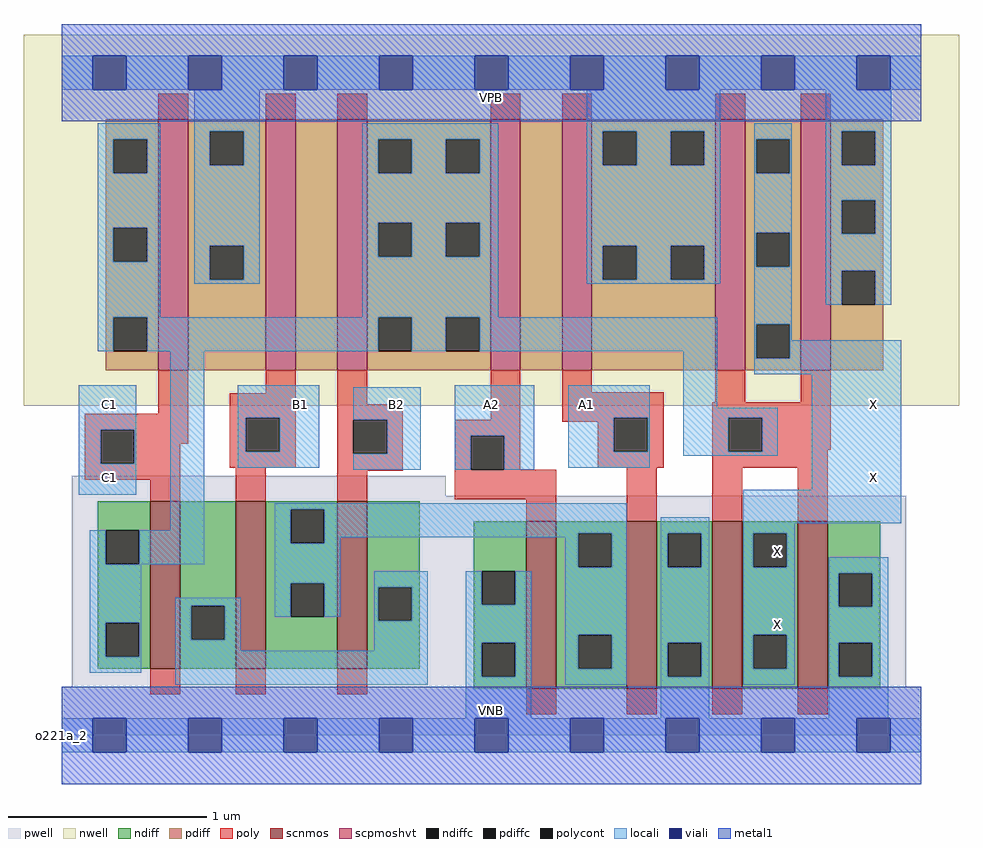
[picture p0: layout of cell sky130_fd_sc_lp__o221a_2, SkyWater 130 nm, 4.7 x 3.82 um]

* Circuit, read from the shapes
.subckt sky130_fd_sc_lp__o221a_2 A1 A2 B1 B2 C1 VGND VNB VPB VPWR X
XM1 n1 C1 n2 VNB sky130_fd_pr__nfet_01v8 w=0.84 l=0.15
XM2 n3 B1 n1 VNB sky130_fd_pr__nfet_01v8 w=0.84 l=0.15
XM3 n1 B2 n3 VNB sky130_fd_pr__nfet_01v8 w=0.84 l=0.15
XM4 n3 A2 VGND VNB sky130_fd_pr__nfet_01v8 w=0.84 l=0.15
XM5 VGND A1 n3 VNB sky130_fd_pr__nfet_01v8 w=0.84 l=0.15
XM6 X n2 VGND VNB sky130_fd_pr__nfet_01v8 w=0.84 l=0.15 m=2
XM7 VPWR C1 n2 VPB sky130_fd_pr__pfet_01v8_hvt w=1.26 l=0.15
XM8 n4 B1 VPWR VPB sky130_fd_pr__pfet_01v8_hvt w=1.26 l=0.15
XM9 n2 B2 n4 VPB sky130_fd_pr__pfet_01v8_hvt w=1.26 l=0.15
XM10 n5 A2 n2 VPB sky130_fd_pr__pfet_01v8_hvt w=1.26 l=0.15
XM11 VPWR A1 n5 VPB sky130_fd_pr__pfet_01v8_hvt w=1.26 l=0.15
XM12 X n2 VPWR VPB sky130_fd_pr__pfet_01v8_hvt w=1.26 l=0.15 m=2
.ends

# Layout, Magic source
magic
tech sky130A
magscale 1 2
<< nwell >>
rect -38 331 902 704
<< pwell >>
rect 10 241 386 261
rect 10 49 849 241
rect 0 0 864 49
<< scnmos >>
rect 89 67 119 235
rect 175 67 205 235
rect 277 67 307 235
rect 467 47 497 215
rect 568 47 598 215
rect 654 47 684 215
rect 740 47 770 215
<< scpmoshvt >>
rect 97 367 127 619
rect 205 367 235 619
rect 277 367 307 619
rect 431 367 461 619
rect 503 367 533 619
rect 657 367 687 619
rect 743 367 773 619
<< ndiff >>
rect 36 206 89 235
rect 36 172 44 206
rect 78 172 89 206
rect 36 113 89 172
rect 36 79 44 113
rect 78 79 89 113
rect 36 67 89 79
rect 119 130 175 235
rect 119 96 130 130
rect 164 96 175 130
rect 119 67 175 96
rect 205 227 277 235
rect 205 193 230 227
rect 264 193 277 227
rect 205 153 277 193
rect 205 119 230 153
rect 264 119 277 153
rect 205 67 277 119
rect 307 149 360 235
rect 307 115 318 149
rect 352 115 360 149
rect 307 67 360 115
rect 414 165 467 215
rect 414 131 422 165
rect 456 131 467 165
rect 414 93 467 131
rect 414 59 422 93
rect 456 59 467 93
rect 414 47 467 59
rect 497 203 568 215
rect 497 169 519 203
rect 553 169 568 203
rect 497 101 568 169
rect 497 67 519 101
rect 553 67 568 101
rect 497 47 568 67
rect 598 203 654 215
rect 598 169 609 203
rect 643 169 654 203
rect 598 93 654 169
rect 598 59 609 93
rect 643 59 654 93
rect 598 47 654 59
rect 684 203 740 215
rect 684 169 695 203
rect 729 169 740 203
rect 684 101 740 169
rect 684 67 695 101
rect 729 67 740 101
rect 684 47 740 67
rect 770 163 823 215
rect 770 129 781 163
rect 815 129 823 163
rect 770 93 823 129
rect 770 59 781 93
rect 815 59 823 93
rect 770 47 823 59
<< pdiff >>
rect 44 599 97 619
rect 44 565 52 599
rect 86 565 97 599
rect 44 510 97 565
rect 44 476 52 510
rect 86 476 97 510
rect 44 420 97 476
rect 44 386 52 420
rect 86 386 97 420
rect 44 367 97 386
rect 127 607 205 619
rect 127 573 149 607
rect 183 573 205 607
rect 127 492 205 573
rect 127 458 149 492
rect 183 458 205 492
rect 127 367 205 458
rect 235 367 277 619
rect 307 599 431 619
rect 307 565 318 599
rect 352 565 386 599
rect 420 565 431 599
rect 307 515 431 565
rect 307 481 318 515
rect 352 481 386 515
rect 420 481 431 515
rect 307 420 431 481
rect 307 386 318 420
rect 352 386 386 420
rect 420 386 431 420
rect 307 367 431 386
rect 461 367 503 619
rect 533 607 657 619
rect 533 573 544 607
rect 578 573 612 607
rect 646 573 657 607
rect 533 492 657 573
rect 533 458 544 492
rect 578 458 612 492
rect 646 458 657 492
rect 533 367 657 458
rect 687 599 743 619
rect 687 565 698 599
rect 732 565 743 599
rect 687 505 743 565
rect 687 471 698 505
rect 732 471 743 505
rect 687 413 743 471
rect 687 379 698 413
rect 732 379 743 413
rect 687 367 743 379
rect 773 607 826 619
rect 773 573 784 607
rect 818 573 826 607
rect 773 538 826 573
rect 773 504 784 538
rect 818 504 826 538
rect 773 467 826 504
rect 773 433 784 467
rect 818 433 826 467
rect 773 367 826 433
<< ndiffc >>
rect 44 172 78 206
rect 44 79 78 113
rect 130 96 164 130
rect 230 193 264 227
rect 230 119 264 153
rect 318 115 352 149
rect 422 131 456 165
rect 422 59 456 93
rect 519 169 553 203
rect 519 67 553 101
rect 609 169 643 203
rect 609 59 643 93
rect 695 169 729 203
rect 695 67 729 101
rect 781 129 815 163
rect 781 59 815 93
<< pdiffc >>
rect 52 565 86 599
rect 52 476 86 510
rect 52 386 86 420
rect 149 573 183 607
rect 149 458 183 492
rect 318 565 352 599
rect 386 565 420 599
rect 318 481 352 515
rect 386 481 420 515
rect 318 386 352 420
rect 386 386 420 420
rect 544 573 578 607
rect 612 573 646 607
rect 544 458 578 492
rect 612 458 646 492
rect 698 565 732 599
rect 698 471 732 505
rect 698 379 732 413
rect 784 573 818 607
rect 784 504 818 538
rect 784 433 818 467
<< poly >>
rect 97 619 127 645
rect 205 619 235 645
rect 277 619 307 645
rect 431 619 461 645
rect 503 619 533 645
rect 657 619 687 645
rect 743 619 773 645
rect 97 323 127 367
rect 205 344 235 367
rect 23 307 127 323
rect 23 273 39 307
rect 73 293 127 307
rect 169 319 235 344
rect 73 273 119 293
rect 23 257 119 273
rect 169 285 185 319
rect 219 285 235 319
rect 169 269 235 285
rect 277 333 307 367
rect 277 317 343 333
rect 431 317 461 367
rect 277 283 293 317
rect 327 283 343 317
rect 89 235 119 257
rect 175 235 205 269
rect 277 266 343 283
rect 395 301 461 317
rect 503 345 533 367
rect 503 319 605 345
rect 657 335 687 367
rect 743 335 773 367
rect 503 315 555 319
rect 395 267 411 301
rect 445 267 461 301
rect 539 285 555 315
rect 589 285 605 319
rect 539 269 605 285
rect 654 319 773 335
rect 654 285 670 319
rect 704 287 773 319
rect 704 285 770 287
rect 654 269 770 285
rect 277 235 307 266
rect 395 237 497 267
rect 467 215 497 237
rect 568 215 598 269
rect 654 215 684 269
rect 740 215 770 269
rect 89 41 119 67
rect 175 41 205 67
rect 277 41 307 67
rect 467 21 497 47
rect 568 21 598 47
rect 654 21 684 47
rect 740 21 770 47
<< polycont >>
rect 39 273 73 307
rect 185 285 219 319
rect 293 283 327 317
rect 411 267 445 301
rect 555 285 589 319
rect 670 285 704 319
<< locali >>
rect 0 649 31 683
rect 65 649 127 683
rect 161 649 223 683
rect 257 649 319 683
rect 353 649 415 683
rect 449 649 511 683
rect 545 649 607 683
rect 641 649 703 683
rect 737 649 799 683
rect 833 649 864 683
rect 36 599 99 615
rect 36 565 52 599
rect 86 565 99 599
rect 36 510 99 565
rect 36 476 52 510
rect 86 476 99 510
rect 36 420 99 476
rect 133 607 199 649
rect 133 573 149 607
rect 183 573 199 607
rect 133 492 199 573
rect 133 458 149 492
rect 183 458 199 492
rect 133 454 199 458
rect 302 599 439 615
rect 302 565 318 599
rect 352 565 386 599
rect 420 565 439 599
rect 302 515 439 565
rect 302 481 318 515
rect 352 481 386 515
rect 420 481 439 515
rect 302 420 439 481
rect 528 607 662 649
rect 528 573 544 607
rect 578 573 612 607
rect 646 573 662 607
rect 528 492 662 573
rect 528 458 544 492
rect 578 458 612 492
rect 646 458 662 492
rect 528 454 662 458
rect 696 599 734 615
rect 696 565 698 599
rect 732 565 734 599
rect 696 505 734 565
rect 696 471 698 505
rect 732 471 734 505
rect 36 386 52 420
rect 86 386 318 420
rect 352 386 386 420
rect 420 386 659 420
rect 17 307 75 352
rect 17 273 39 307
rect 73 273 75 307
rect 17 242 75 273
rect 109 206 143 386
rect 177 319 259 352
rect 177 285 185 319
rect 219 285 259 319
rect 177 269 259 285
rect 293 317 361 350
rect 327 283 361 317
rect 293 267 361 283
rect 395 301 475 352
rect 395 267 411 301
rect 445 267 475 301
rect 509 319 591 352
rect 509 285 555 319
rect 589 285 591 319
rect 509 269 591 285
rect 625 329 659 386
rect 696 413 734 471
rect 768 607 834 649
rect 768 573 784 607
rect 818 573 834 607
rect 768 538 834 573
rect 768 504 784 538
rect 818 504 834 538
rect 768 467 834 504
rect 768 433 784 467
rect 818 433 834 467
rect 696 379 698 413
rect 732 397 734 413
rect 732 379 844 397
rect 696 363 844 379
rect 625 319 720 329
rect 625 285 670 319
rect 704 285 720 319
rect 625 281 720 285
rect 754 247 844 363
rect 28 172 44 206
rect 78 172 143 206
rect 214 227 568 233
rect 214 193 230 227
rect 264 203 568 227
rect 264 199 519 203
rect 264 193 280 199
rect 28 113 80 172
rect 214 153 280 193
rect 506 169 519 199
rect 553 169 568 203
rect 28 79 44 113
rect 78 79 80 113
rect 28 63 80 79
rect 114 130 180 138
rect 114 96 130 130
rect 164 96 180 130
rect 214 119 230 153
rect 264 119 280 153
rect 314 149 368 165
rect 114 85 180 96
rect 314 115 318 149
rect 352 115 368 149
rect 314 85 368 115
rect 114 51 368 85
rect 406 131 422 165
rect 456 131 472 165
rect 406 93 472 131
rect 406 59 422 93
rect 456 59 472 93
rect 406 17 472 59
rect 506 101 568 169
rect 506 67 519 101
rect 553 67 568 101
rect 506 51 568 67
rect 602 203 651 219
rect 602 169 609 203
rect 643 169 651 203
rect 602 93 651 169
rect 602 59 609 93
rect 643 59 651 93
rect 602 17 651 59
rect 685 213 844 247
rect 685 203 737 213
rect 685 169 695 203
rect 729 169 737 203
rect 685 101 737 169
rect 685 67 695 101
rect 729 67 737 101
rect 685 51 737 67
rect 771 163 831 179
rect 771 129 781 163
rect 815 129 831 163
rect 771 93 831 129
rect 771 59 781 93
rect 815 59 831 93
rect 771 17 831 59
rect 0 -17 31 17
rect 65 -17 127 17
rect 161 -17 223 17
rect 257 -17 319 17
rect 353 -17 415 17
rect 449 -17 511 17
rect 545 -17 607 17
rect 641 -17 703 17
rect 737 -17 799 17
rect 833 -17 864 17
<< viali >>
rect 31 649 65 683
rect 127 649 161 683
rect 223 649 257 683
rect 319 649 353 683
rect 415 649 449 683
rect 511 649 545 683
rect 607 649 641 683
rect 703 649 737 683
rect 799 649 833 683
rect 31 -17 65 17
rect 127 -17 161 17
rect 223 -17 257 17
rect 319 -17 353 17
rect 415 -17 449 17
rect 511 -17 545 17
rect 607 -17 641 17
rect 703 -17 737 17
rect 799 -17 833 17
<< metal1 >>
rect 0 683 864 715
rect 0 649 31 683
rect 65 649 127 683
rect 161 649 223 683
rect 257 649 319 683
rect 353 649 415 683
rect 449 649 511 683
rect 545 649 607 683
rect 641 649 703 683
rect 737 649 799 683
rect 833 649 864 683
rect 0 617 864 649
rect 0 17 864 49
rect 0 -17 31 17
rect 65 -17 127 17
rect 161 -17 223 17
rect 257 -17 319 17
rect 353 -17 415 17
rect 449 -17 511 17
rect 545 -17 607 17
rect 641 -17 703 17
rect 737 -17 799 17
rect 833 -17 864 17
rect 0 -49 864 -17
<< labels >>
flabel pwell s 0 0 864 49 0 FreeSans 200 0 0 0 VNB
port 7 nsew ground bidirectional
flabel nwell s 0 617 864 666 0 FreeSans 200 0 0 0 VPB
port 8 nsew power bidirectional
rlabel comment s 0 0 0 0 4 o221a_2
flabel metal1 s 0 617 864 666 0 FreeSans 340 0 0 0 VPWR
port 9 nsew power bidirectional
flabel metal1 s 0 0 864 49 0 FreeSans 340 0 0 0 VGND
port 6 nsew ground bidirectional
flabel locali s 703 94 737 128 0 FreeSans 340 0 0 0 X
port 10 nsew signal output
flabel locali s 703 168 737 202 0 FreeSans 340 0 0 0 X
port 10 nsew signal output
flabel locali s 511 316 545 350 0 FreeSans 340 0 0 0 A1
port 1 nsew signal input
flabel locali s 223 316 257 350 0 FreeSans 340 0 0 0 B1
port 3 nsew signal input
flabel locali s 319 316 353 350 0 FreeSans 340 0 0 0 B2
port 4 nsew signal input
flabel locali s 31 242 65 276 0 FreeSans 340 0 0 0 C1
port 5 nsew signal input
flabel locali s 31 316 65 350 0 FreeSans 340 0 0 0 C1
port 5 nsew signal input
flabel locali s 415 316 449 350 0 FreeSans 340 0 0 0 A2
port 2 nsew signal input
flabel locali s 799 316 833 350 0 FreeSans 340 0 0 0 X
port 10 nsew signal output
flabel locali s 799 242 833 276 0 FreeSans 340 0 0 0 X
port 10 nsew signal output
<< properties >>
string LEFsite unit
string LEFclass CORE
string FIXED_BBOX 0 0 864 666
string GDS_FILE $PDKPATH/libs.ref/sky130_fd_sc_lp/gds/sky130_fd_sc_lp.gds
string LEFsymmetry X Y R90
string GDS_END 4874650
string GDS_START 4866144
<< end >>
